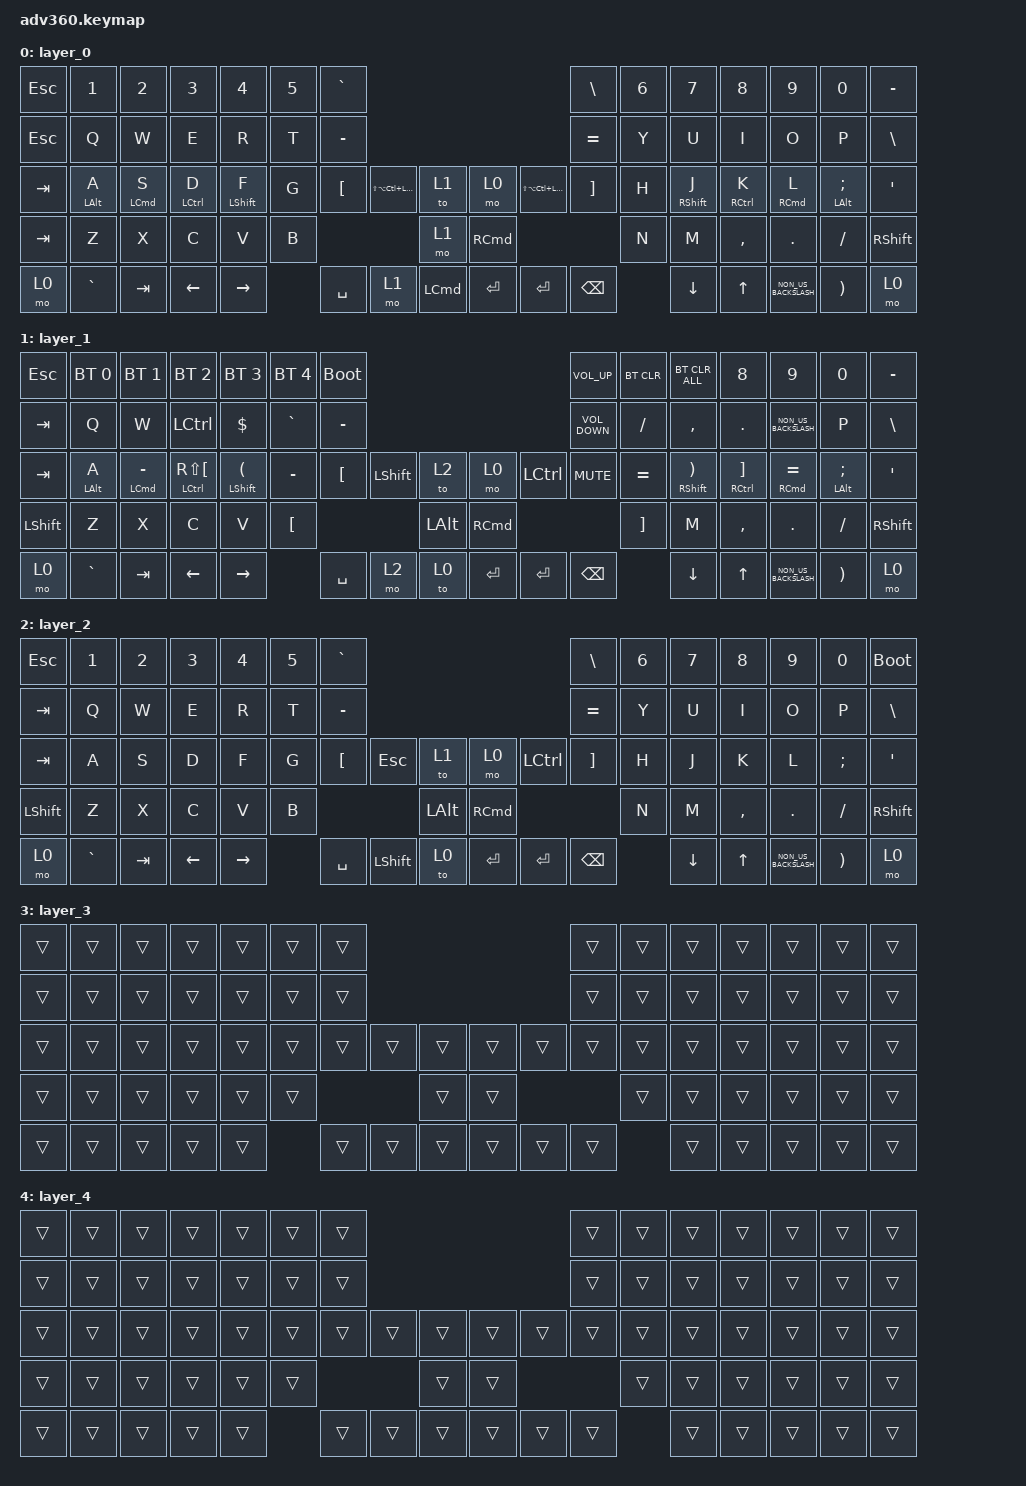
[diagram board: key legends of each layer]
/*
 * Copyright (c) 2020 The ZMK Contributors
 *
 * SPDX-License-Identifier: MIT
 */
/* THIS FILE WAS GENERATED!
 *
 * This file was generated automatically. You may or may not want to
 * edit it directly.
 */

#include <behaviors.dtsi>
#include <dt-bindings/zmk/bt.h>
#include <dt-bindings/zmk/keys.h>

/ {
    behaviors {
        #include "macros.dtsi"
    #include "version.dtsi"

        hm: homerow_mods {
            compatible = "zmk,behavior-hold-tap";
            label = "HOMEROW_MODS";
            #binding-cells = <2>;
            tapping-term-ms = <200>;
            quick_tap_ms = <175>;
            flavor = "tap-preferred";
            bindings = <&kp>, <&kp>;
        };

        hmr_test_left: hmr_test_left {
            compatible = "zmk,behavior-hold-tap";
            label = "HMR_TEST_LEFT";
            bindings = <&kp>, <&kp>;

            #binding-cells = <2>;
            tapping-term-ms = <200>;
            quick-tap-ms = <175>;
            hold-trigger-on-release;
            flavor = "balanced";
            hold-trigger-key-positions = <7 8 9 10 11 12 13 21 22 23 24 25 26 27 38 39 40 41 42 43 44 45 54 55 56 57 58 59 68 69 70 71 72 73 74 75 37 53 35 36 52 65 66 67>;
        };
    };

    keymap {
        compatible = "zmk,keymap";

        layer_0 {
            bindings = <
&kp ESCAPE  &kp N1          &kp N2              &kp N3              &kp N4            &kp N5  &kp GRAVE                                                                                                       &kp BACKSLASH  &kp N6  &kp N7             &kp N8               &kp N9                &kp N0                 &kp MINUS
&kp ESC     &kp Q           &kp W               &kp E               &kp R             &kp T   &kp MINUS                                                                                                       &kp EQUAL      &kp Y   &kp U              &kp I                &kp O                 &kp P                  &kp BSLH
&kp TAB     &hm LEFT_ALT A  &hm LEFT_COMMAND S  &hm LEFT_CONTROL D  &hm LEFT_SHIFT F  &kp G   &kp LBKT   &kp LS(LA(LC(LEFT_COMMAND)))  &to 1                 &mo 0              &kp LS(LA(LC(LEFT_COMMAND)))  &kp RBKT       &kp H   &hm RIGHT_SHIFT J  &hm RIGHT_CONTROL K  &hm RIGHT_COMMAND L   &hm LEFT_ALT SEMI      &kp SINGLE_QUOTE
&kp TAB     &kp Z           &kp X               &kp C               &kp V             &kp B                                            &mo 1                 &kp RIGHT_COMMAND                                               &kp N   &kp M              &kp COMMA            &kp DOT               &kp FSLH               &kp RSHFT
&mo 0       &kp GRAVE       &kp TAB             &kp LEFT            &kp RIGHT                 &kp SPACE  &mo 1                         &kp LEFT_COMMAND      &kp ENTER          &kp ENTER                     &kp BACKSPACE          &kp DOWN           &kp UP_ARROW         &kp NON_US_BACKSLASH  &kp RIGHT_PARENTHESIS  &mo 0
            >;
        };

        layer_1 {
            bindings = <
&kp ESCAPE  &bt BT_SEL 0    &bt BT_SEL 1            &bt BT_SEL 2                       &bt BT_SEL 3                     &bt BT_SEL 4      &bootloader                                                                         &kp C_VOLUME_UP    &bt BT_CLR         &bt BT_CLR_ALL                     &kp N8                           &kp N9                   &kp N0                 &kp MINUS
&kp TAB     &kp Q           &kp W                   &kp LCTRL                          &kp DOLLAR                       &kp GRAVE         &kp MINUS                                                                           &kp C_VOLUME_DOWN  &kp SLASH          &kp COMMA                          &kp PERIOD                       &kp NON_US_BACKSLASH     &kp P                  &kp BSLH
&kp TAB     &hm LEFT_ALT A  &hm LEFT_COMMAND MINUS  &hm LEFT_CONTROL RS(LEFT_BRACKET)  &hm LEFT_SHIFT LEFT_PARENTHESIS  &kp MINUS         &kp LBKT     &kp LEFT_SHIFT  &to 2             &mo 0              &kp LEFT_CONTROL  &kp C_MUTE         &kp EQUAL          &hm RIGHT_SHIFT RIGHT_PARENTHESIS  &hm RIGHT_CONTROL RIGHT_BRACKET  &hm RIGHT_COMMAND EQUAL  &hm LEFT_ALT SEMI      &kp SINGLE_QUOTE
&kp LSHFT   &kp Z           &kp X                   &kp C                              &kp V                            &kp LEFT_BRACKET                               &kp LEFT_ALT      &kp RIGHT_COMMAND                                       &kp RIGHT_BRACKET  &kp M                              &kp COMMA                        &kp DOT                  &kp FSLH               &kp RSHFT
&mo 0       &kp GRAVE       &kp TAB                 &kp LEFT                           &kp RIGHT                                          &kp SPACE    &mo 2           &to 0             &kp ENTER          &kp ENTER         &kp BACKSPACE                         &kp DOWN                           &kp UP_ARROW                     &kp NON_US_BACKSLASH     &kp RIGHT_PARENTHESIS  &mo 0
            >;
        };

        layer_2 {
            bindings = <
&kp ESCAPE  &kp N1     &kp N2   &kp N3    &kp N4     &kp N5  &kp GRAVE                                                                         &kp BACKSLASH  &kp N6  &kp N7    &kp N8        &kp N9                &kp N0                 &bootloader
&kp TAB     &kp Q      &kp W    &kp E     &kp R      &kp T   &kp MINUS                                                                         &kp EQUAL      &kp Y   &kp U     &kp I         &kp O                 &kp P                  &kp BSLH
&kp TAB     &kp A      &kp S    &kp D     &kp F      &kp G   &kp LBKT   &kp ESCAPE      &to 1             &mo 0              &kp LEFT_CONTROL  &kp RBKT       &kp H   &kp J     &kp K         &kp L                 &kp SEMICOLON          &kp SINGLE_QUOTE
&kp LSHFT   &kp Z      &kp X    &kp C     &kp V      &kp B                              &kp LEFT_ALT      &kp RIGHT_COMMAND                                   &kp N   &kp M     &kp COMMA     &kp DOT               &kp FSLH               &kp RSHFT
&mo 0       &kp GRAVE  &kp TAB  &kp LEFT  &kp RIGHT          &kp SPACE  &kp LEFT_SHIFT  &to 0             &kp ENTER          &kp ENTER         &kp BACKSPACE          &kp DOWN  &kp UP_ARROW  &kp NON_US_BACKSLASH  &kp RIGHT_PARENTHESIS  &mo 0
            >;
        };

        layer_3 {
            bindings = <
&trans  &trans  &trans  &trans  &trans  &trans  &trans                                      &trans  &trans  &trans  &trans  &trans  &trans  &trans
&trans  &trans  &trans  &trans  &trans  &trans  &trans                                      &trans  &trans  &trans  &trans  &trans  &trans  &trans
&trans  &trans  &trans  &trans  &trans  &trans  &trans  &trans  &trans      &trans  &trans  &trans  &trans  &trans  &trans  &trans  &trans  &trans
&trans  &trans  &trans  &trans  &trans  &trans                  &trans      &trans                  &trans  &trans  &trans  &trans  &trans  &trans
&trans  &trans  &trans  &trans  &trans          &trans  &trans  &trans      &trans  &trans  &trans          &trans  &trans  &trans  &trans  &trans
            >;
        };

        layer_4 {
            bindings = <
&trans  &trans  &trans  &trans  &trans  &trans  &trans                                      &trans  &trans  &trans  &trans  &trans  &trans  &trans
&trans  &trans  &trans  &trans  &trans  &trans  &trans                                      &trans  &trans  &trans  &trans  &trans  &trans  &trans
&trans  &trans  &trans  &trans  &trans  &trans  &trans  &trans  &trans      &trans  &trans  &trans  &trans  &trans  &trans  &trans  &trans  &trans
&trans  &trans  &trans  &trans  &trans  &trans                  &trans      &trans                  &trans  &trans  &trans  &trans  &trans  &trans
&trans  &trans  &trans  &trans  &trans          &trans  &trans  &trans      &trans  &trans  &trans          &trans  &trans  &trans  &trans  &trans
            >;
        };
    };
};
